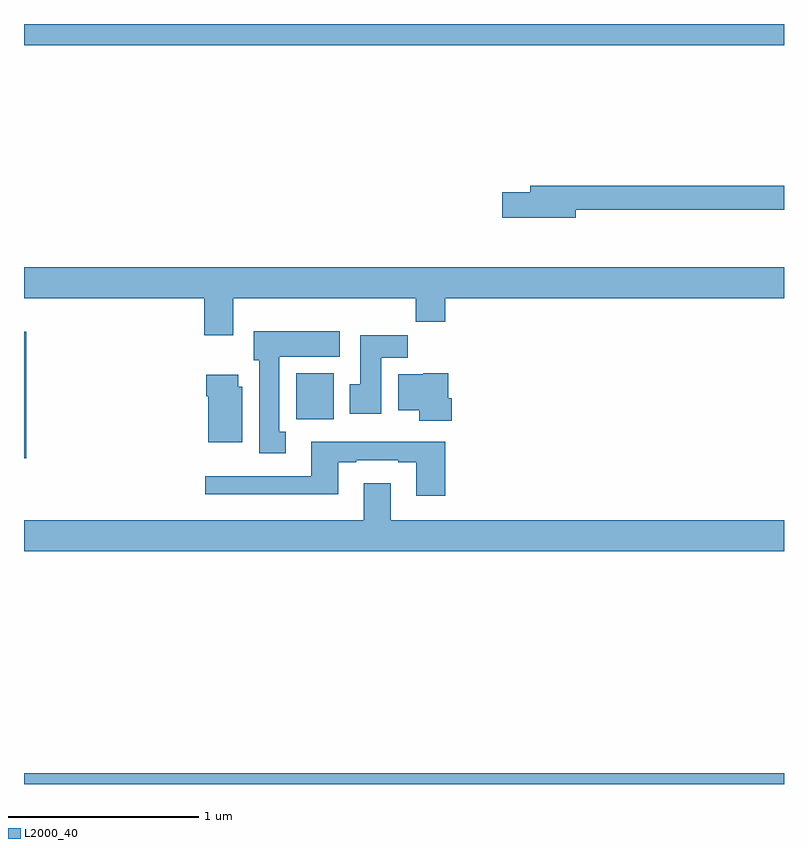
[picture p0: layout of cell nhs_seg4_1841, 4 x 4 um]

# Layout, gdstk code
import gdstk
lib = gdstk.Library(unit=1e-6, precision=1e-09)
def R(c, l, rs):  # rectangles x0, y0, x1, y1
    for r in rs: c.add(gdstk.rectangle(r[:2], r[2:], *l))
def P(c, l, *ps):  # polygons
    for p in ps: c.add(gdstk.Polygon(p, *l))
L2000_40 = (2000, 40)

nhs_seg4_1841 = lib.new_cell('nhs_seg4_1841')
R(nhs_seg4_1841, L2000_40, [(205,824.9,209,824.956), (205,826.614,205.013,827.281), (206.432,826.82,206.629,827.062), (205,828.788,209,828.9)])
P(nhs_seg4_1841, L2000_40, [(207.904,827.922),(209,827.922),(209,828.05),(207.665,828.05),(207.665,828.014),(207.516,828.014),(207.516,827.879),(207.904,827.879)],
  [(206.101,827.456),(207.061,827.456),(207.061,827.332),(207.218,827.332),(207.218,827.456),(209,827.456),(209,827.62),(205,827.62),(205,827.456),(205.949,827.456),(205.949,827.262),(206.101,827.262)],
  [(206.377,826.754),(206.344,826.754),(206.344,827.15),(206.662,827.15),(206.662,827.284),(206.21,827.284),(206.21,827.13),(206.237,827.13),(206.237,826.641),(206.377,826.641)],
  [(206.881,827.144),(207.02,827.144),(207.02,827.263),(206.771,827.263),(206.771,827.004),(206.714,827.004),(206.714,826.848),(206.881,826.848)],
  [(207.251,826.929),(207.233,826.929),(207.233,827.062),(207.102,827.062),(207.102,827.056),(206.969,827.056),(206.969,826.868),(207.08,826.868),(207.08,826.811),(207.251,826.811)],
  [(206.149,826.992),(206.128,826.992),(206.128,827.053),(205.958,827.053),(205.958,826.94),(205.97,826.94),(205.97,826.7),(206.149,826.7)],
  [(207.218,826.702),(206.513,826.702),(206.513,826.521),(205.953,826.521),(205.953,826.424),(206.653,826.424),(206.653,826.593),(206.749,826.593),(206.749,826.605),(206.969,826.605),(206.969,826.593),(207.065,826.593),(207.065,826.416),(207.218,826.416)],
  [(209,826.288),(206.929,826.288),(206.929,826.483),(206.789,826.483),(206.789,826.288),(205,826.288),(205,826.124),(209,826.124)])

lib.write_gds('nhs_seg4_1841.gds')
